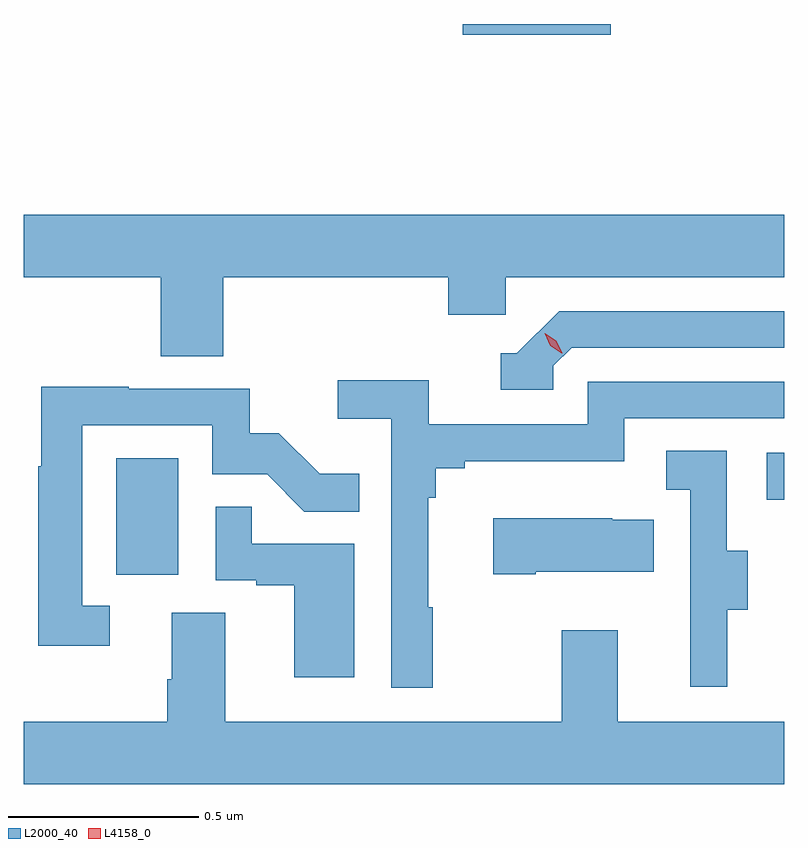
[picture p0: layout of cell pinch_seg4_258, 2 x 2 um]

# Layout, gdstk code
import gdstk
lib = gdstk.Library(unit=1e-6, precision=1e-09)
def R(c, l, rs):  # rectangles x0, y0, x1, y1
    for r in rs: c.add(gdstk.rectangle(r[:2], r[2:], *l))
def P(c, l, *ps):  # polygons
    for p in ps: c.add(gdstk.Polygon(p, *l))
L2000_40 = (2000, 40)
L4158_0 = (4158, 0)

pinch_seg4_258 = lib.new_cell('pinch_seg4_258')
R(pinch_seg4_258, L2000_40, [(951.422,825.342,951.586,825.649), (953.133,825.539,953.179,825.663), (952.334,826.762,952.723,826.79)])
P(pinch_seg4_258, L2000_40, [(951.704,826.124),(952.295,826.124),(952.295,826.026),(952.446,826.026),(952.446,826.124),(953.179,826.124),(953.179,826.288),(951.179,826.288),(951.179,826.124),(951.539,826.124),(951.539,825.916),(951.704,825.916)],
  [(952.572,825.891),(952.62,825.939),(953.179,825.939),(953.179,826.035),(952.587,826.035),(952.476,825.924),(952.433,825.924),(952.433,825.828),(952.572,825.828)],
  [(952.255,825.257),(952.243,825.257),(952.243,825.545),(952.262,825.545),(952.262,825.622),(952.339,825.622),(952.339,825.641),(952.758,825.641),(952.758,825.753),(953.179,825.753),(953.179,825.849),(952.662,825.849),(952.662,825.738),(952.244,825.738),(952.244,825.854),(952.005,825.854),(952.005,825.752),(952.146,825.752),(952.146,825.045),(952.255,825.045)],
  [(951.406,825.261),(951.333,825.261),(951.333,825.735),(951.675,825.735),(951.675,825.606),(951.819,825.606),(951.917,825.508),(952.061,825.508),(952.061,825.607),(951.957,825.607),(951.85,825.714),(951.774,825.714),(951.774,825.831),(951.455,825.831),(951.455,825.836),(951.225,825.836),(951.225,825.628),(951.217,825.628),(951.217,825.156),(951.406,825.156)],
  [(953.029,825.25),(953.083,825.25),(953.083,825.405),(953.028,825.405),(953.028,825.668),(952.869,825.668),(952.869,825.565),(952.932,825.565),(952.932,825.261),(952.931,825.261),(952.931,825.048),(953.029,825.048)],
  [(952.048,825.423),(951.779,825.423),(951.779,825.521),(951.684,825.521),(951.684,825.327),(951.791,825.327),(951.791,825.315),(951.89,825.315),(951.89,825.072),(952.048,825.072)],
  [(952.525,825.35),(952.835,825.35),(952.835,825.487),(952.727,825.487),(952.727,825.49),(952.413,825.49),(952.413,825.343),(952.525,825.343)],
  [(953.179,824.956),(952.741,824.956),(952.741,825.196),(952.594,825.196),(952.594,824.956),(951.709,824.956),(951.709,825.242),(951.569,825.242),(951.569,825.068),(951.557,825.068),(951.557,824.956),(951.179,824.956),(951.179,824.792),(953.179,824.792)])
P(pinch_seg4_258, L4158_0, [(952.594,825.924),(952.564,825.944),(952.549,825.977),(952.549,825.977),(952.549,825.977),(952.579,825.957),(952.595,825.924),(952.595,825.924)])

lib.write_gds('pinch_seg4_258.gds')
